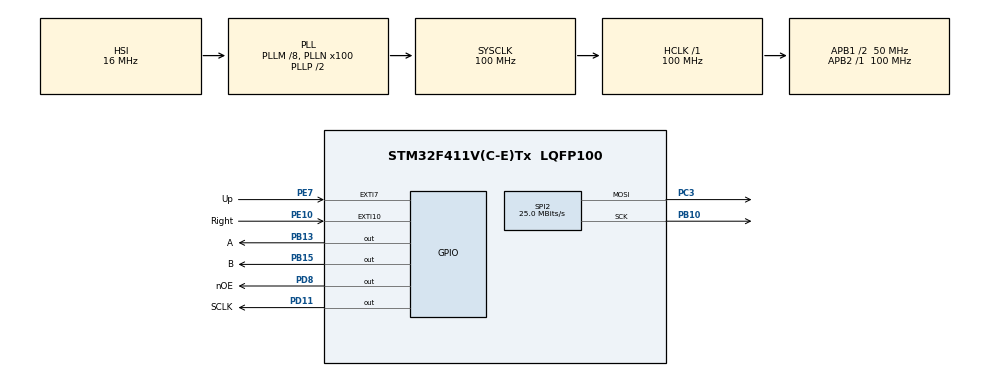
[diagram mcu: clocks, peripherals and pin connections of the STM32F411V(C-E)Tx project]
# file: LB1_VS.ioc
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Mcu.Family=STM32F4
Mcu.Name=STM32F411V(C-E)Tx
Mcu.Package=LQFP100
NVIC.EXTI15_10_IRQn=true\:0\:0\:false\:false\:true\:true\:true\:true
NVIC.EXTI9_5_IRQn=true\:0\:0\:false\:false\:true\:true\:true\:true
NVIC.PriorityGroup=NVIC_PRIORITYGROUP_4
NVIC.TIM2_IRQn=true\:0\:0\:false\:false\:true\:true\:true\:true
PA13.Mode=Serial_Wire
PA13.Signal=SYS_JTMS-SWDIO
PA14.Mode=Serial_Wire
PA14.Signal=SYS_JTCK-SWCLK
PB10.Mode=TX_Only_Simplex_Unidirect_Master
PB10.Signal=SPI2_SCK
PB13.GPIO_Label=A
PB13.Signal=GPIO_Output
PB15.GPIO_Label=B
PB15.Signal=GPIO_Output
PC3.Mode=TX_Only_Simplex_Unidirect_Master
PC3.Signal=SPI2_MOSI
PD11.GPIO_Label=SCLK
PD11.Signal=GPIO_Output
PD8.GPIO_Label=nOE
PD8.Signal=GPIO_Output
PE10.GPIO_Label=Right
PE10.Signal=GPXTI10
PE7.GPIO_Label=Up
PE7.GPIO_PuPd=GPIO_PULLDOWN
PE7.Signal=GPXTI7
PH0\ -\ OSC_IN.Mode=HSE-External-Oscillator
PH0\ -\ OSC_IN.Signal=RCC_OSC_IN
PH1\ -\ OSC_OUT.Mode=HSE-External-Oscillator
PH1\ -\ OSC_OUT.Signal=RCC_OSC_OUT
ProjectManager.HeapSize=0x200
ProjectManager.StackSize=0x400
ProjectManager.TargetToolchain=STM32CubeIDE
RCC.48MHZClocksFreq_Value=50000000
RCC.AHBFreq_Value=100000000
RCC.APB1CLKDivider=RCC_HCLK_DIV2
RCC.APB1Freq_Value=50000000
RCC.APB1TimFreq_Value=100000000
RCC.APB2Freq_Value=100000000
RCC.APB2TimFreq_Value=100000000
RCC.CortexFreq_Value=100000000
RCC.HCLKFreq_Value=100000000
RCC.HSE_VALUE=25000000
RCC.HSI_VALUE=16000000
RCC.LSE_VALUE=32768
RCC.PLLM=8
RCC.PLLN=100
RCC.SYSCLKFreq_VALUE=100000000
RCC.SYSCLKSource=RCC_SYSCLKSOURCE_PLLCLK
RCC.VCOOutputFreq_Value=200000000
SPI2.CalculateBaudRate=25.0 MBits/s
SPI2.Direction=SPI_DIRECTION_2LINES
SPI2.Mode=SPI_MODE_MASTER
SPI2.VirtualType=VM_MASTER
TIM2.Channel-Output\ Compare1\ No\ Output=TIM_CHANNEL_1
TIM2.Period=1000-1
TIM2.Prescaler=25000-1
VP_TIM2_VS_ClockSourceINT.Mode=Internal
VP_TIM2_VS_no_output1.Mode=Output Compare1 No Output
board=custom

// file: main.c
/* USER CODE BEGIN Header */
/**
  ******************************************************************************
  * @file           : main.c
  * @brief          : Main program body
  ******************************************************************************
  * @attention
  *
  * Copyright (c) 2023 STMicroelectronics.
  * All rights reserved.
  *
  * This software is licensed under terms that can be found in the LICENSE file
  * in the root directory of this software component.
  * If no LICENSE file comes with this software, it is provided AS-IS.
  *
  ******************************************************************************
  */
/* USER CODE END Header */
#include "main.h"
#include "spi.h"
#include "tim.h"
#include "gpio.h"

/* USER CODE BEGIN Includes */
#include "P10.h"
/* USER CODE END Includes */

/* USER CODE BEGIN PV */
extern Pixel P[15], R[110];
extern uint8_t pData[16];
Pixel E[28];
uint8_t x_shift = 9;
uint8_t y_shift = 9;
uint8_t x_person_left = 0;
uint8_t x_person_right = 0;
extern uint8_t i_left, i_right, i_rem_right, i_rem_left, s;
void FillPixelX(int start, int end, int Y)
{
	for (int m = start + 1; m < end; m++)
	{
		R[m].x = R[m - 1].x + 1;
		R[m].y = Y;
	}
}
void FillPixelY(int start, int end, int X, int direction)
{
	int a = 0;
	if (direction == 0)
	{
		a = -1;
	}
	else
	{
		a = 1;
	}
	for (int m = start + 1; m < end; m++)
	{
		R[m].y = R[m - 1].y + a;
		R[m].x = X;
	}
}
/* USER CODE END PV */

void SystemClock_Config(void);

int main(void)
{

  /* MCU Configuration--------------------------------------------------------*/

  /* Reset of all peripherals, Initializes the Flash interface and the Systick. */
  HAL_Init();

  /* Configure the system clock */
  SystemClock_Config();

  /* Initialize all configured peripherals */
  MX_GPIO_Init();
  MX_SPI2_Init();
  MX_TIM2_Init();
  /* USER CODE BEGIN 2 */
  HAL_SPI_Init (&hspi2);
  HAL_TIM_Base_Start_IT(&htim2);
  /* USER CODE END 2 */

  /* Infinite loop */
  /* USER CODE BEGIN WHILE */
  //A person
	P[0].x = 1;
	P[0].y = 1;
	P[1].x = 1;
	P[1].y = 2;
	P[2].x = 2;
	P[2].y = 3;
	P[3].x = 3;
	P[3].y = 2;
	P[4].x = 3;
	P[4].y = 1;
	P[5].x = 2;
	P[5].y = 4;
	P[6].x = 2;
	P[6].y = 5;
	P[7].x = 1;
	P[7].y = 5;
	P[8].x = 0;
	P[8].y = 5;
	P[9].x = 3;
	P[9].y = 5;
	P[10].x = 4;
	P[10].y = 5;
	P[11].x = 2;
	P[11].y = 6;
	P[12].x = 1;
	P[12].y = 7;
	P[13].x = 2;
	P[13].y = 8;
	P[14].x = 3;
	P[14].y = 7;
	//Начальное смещение человека
	for (int i = 0; i < 15; i++)
	{
		P[i].x += x_shift;
		P[i].y += y_shift;
	}
	//A road
	R[0].x = 0;
	R[0].y = 0;
	FillPixelX(0, 5, 0);
	R[5].x = 5;
	R[5].y = 0;
	FillPixelY(5, 7, 5, 1);
	R[7].x = 5;
	R[7].y = 2;
	FillPixelX(7, 12, 2);
	R[12].x = 10;
	R[12].y = 2;
	R[13].x = 10;
	R[13].y = 1;
	FillPixelX(13, 20, 1);
	R[20].x = 17;
	R[20].y = 1;
	FillPixelY(20, 22, 17, 1);
	R[22].x = 17;
	R[22].y = 3;
	FillPixelX(22, 29, 3);
	R[29].x = 24;
	R[29].y = 3;
	FillPixelY(29, 31, 24, 1);
	R[31].x = 24;
	R[31].y = 5;
	FillPixelX(31, 35, 5);
	R[35].x = 28;
	R[35].y = 5;
	FillPixelY(35, 40, 28, 0);
	R[40].x = 28;
	R[40].y = 0;
	FillPixelX(40, 46, 0);
	R[46].x = 34;
	R[46].y = 0;
	R[47].x = 34;
	R[47].y = 1;
	FillPixelX(47, 52, 1);
	R[52].x = 39;
	R[52].y = 1;
	R[53].x = 39;
	R[53].y = 0;
	FillPixelX(53, 60, 0);
	R[60].x = 46;
	R[60].y = 0;
	FillPixelY(60, 63, 46, 1);
	R[63].x = 46;
	R[63].y = 3;
	FillPixelX(63, 66, 3);
	R[66].x = 49;
	R[66].y = 3;
	R[67].x = 49;
	R[67].y = 2;
	R[68].x = 49;
	R[68].y = 1;
	FillPixelX(68, 72, 1);
	R[72].x = 53;
	R[72].y = 1;
	R[73].x = 53;
	R[73].y = 0;
	FillPixelX(73, 80, 0);
	R[80].x = 60;
	R[80].y = 0;
	R[81].x = 60;
	R[81].y = 1;
	R[82].x = 60;
	R[82].y = 2;
	FillPixelX(82, 88, 2);
	R[88].x = 66;
	R[88].y = 2;
	R[89].x = 66;
	R[89].y = 3;
	R[90].x = 66;
	R[90].y = 4;
	FillPixelX(90, 96, 4);
	R[96].x = 72;
	R[96].y = 4;
	R[97].x = 72;
	R[97].y = 3;
	R[98].x = 72;
	R[98].y = 2;
	FillPixelX(98, 103, 2);
	R[103].x = 77;
	R[103].y = 2;
	R[104].x = 77;
	R[104].y = 1;
	R[105].x = 77;
	R[105].y = 0;
	FillPixelX(105, 109, 0);
	R[109].x = 81;
	R[109].y = 0;
	x_person_left = P[0].x;
	x_person_right = P[4].x;
	for (int i = 0; i < 110; i++)
	{
		if (R[i].x == x_person_left)
		{
			i_left = i;
			break;
		}
	}
	for (int i = 0; i < 110; i++)
	{
		if (R[i].x == x_person_right)
		{
			i_right = i;
			break;
		}
	}
	i_rem_left = i_left;
	i_rem_right = i_right;
	//End
	//E
	E[0].x = 12;
	E[0].y = 4;
	E[1].x = 11;
	E[1].y = 4;
	E[2].x = 10;
	E[2].y = 4;
	E[3].x = 10;
	E[3].y = 5;
	E[4].x = 10;
	E[4].y = 6;
	E[5].x = 10;
	E[5].y = 7;
	E[6].x = 10;
	E[6].y = 8;
	E[7].x = 11;
	E[7].y = 8;
	E[8].x = 12;
	E[8].y = 8;
	E[9].x = 11;
	E[9].y = 6;
	E[10].x = 12;
	E[10].y = 6;
	//n
	E[11].x = 14;
	E[11].y = 4;
	E[12].x = 14;
	E[12].y = 5;
	E[13].x = 14;
	E[13].y = 6;
	E[14].x = 15;
	E[14].y = 6;
	E[15].x = 16;
	E[15].y = 6;
	E[16].x = 16;
	E[16].y = 5;
	E[17].x = 16;
	E[17].y = 4;
	//d
	E[18].x = 20;
	E[18].y = 8;
	E[19].x = 20;
	E[19].y = 7;
	E[20].x = 20;
	E[20].y = 6;
	E[21].x = 20;
	E[21].y = 5;
	E[22].x = 20;
	E[22].y = 4;
	E[23].x = 19;
	E[23].y = 4;
	E[24].x = 18;
	E[24].y = 4;
	E[25].x = 18;
	E[25].y = 5;
	E[26].x = 18;
	E[26].y = 6;
	E[27].x = 19;
	E[27].y = 6;

  while (1)
  {
	  if (s == 1)
	  {
	      clearScreen((uint8_t*) pData);
	      drawPixels(E, 28, (uint8_t*) pData, P10AB_11);
		  HAL_GPIO_WritePin(nOE_GPIO_Port, nOE_Pin, GPIO_PIN_RESET);
		  HAL_GPIO_WritePin(SCLK_GPIO_Port, SCLK_Pin, GPIO_PIN_RESET);
		  HAL_GPIO_WritePin(A_GPIO_Port, A_Pin, GPIO_PIN_SET);
		  HAL_GPIO_WritePin(B_GPIO_Port, B_Pin, GPIO_PIN_SET);
		  HAL_SPI_Transmit(&hspi2, (uint8_t*) pData, 16, 10);
		  HAL_GPIO_WritePin(SCLK_GPIO_Port, SCLK_Pin, GPIO_PIN_SET);
		  HAL_GPIO_WritePin(nOE_GPIO_Port, nOE_Pin, GPIO_PIN_SET);
		  HAL_Delay(0.5);

		  clearScreen((uint8_t*) pData);
	      drawPixels(E, 28, (uint8_t*) pData, P10AB_10);
		  HAL_GPIO_WritePin(nOE_GPIO_Port, nOE_Pin, GPIO_PIN_RESET);
		  HAL_GPIO_WritePin(SCLK_GPIO_Port, SCLK_Pin, GPIO_PIN_RESET);
		  HAL_GPIO_WritePin(A_GPIO_Port, A_Pin, GPIO_PIN_RESET);
		  HAL_GPIO_WritePin(B_GPIO_Port, B_Pin, GPIO_PIN_SET);
		  HAL_SPI_Transmit(&hspi2, (uint8_t*) pData, 16, 10);
		  HAL_GPIO_WritePin(SCLK_GPIO_Port, SCLK_Pin, GPIO_PIN_SET);
		  HAL_GPIO_WritePin(nOE_GPIO_Port, nOE_Pin, GPIO_PIN_SET);
		  HAL_Delay(0.5);

		  clearScreen((uint8_t*) pData);
	      drawPixels(E, 28, (uint8_t*) pData, P10AB_01);
		  HAL_GPIO_WritePin(nOE_GPIO_Port, nOE_Pin, GPIO_PIN_RESET);
		  HAL_GPIO_WritePin(SCLK_GPIO_Port, SCLK_Pin, GPIO_PIN_RESET);
		  HAL_GPIO_WritePin(A_GPIO_Port, A_Pin, GPIO_PIN_SET);
		  HAL_GPIO_WritePin(B_GPIO_Port, B_Pin, GPIO_PIN_RESET);
		  HAL_SPI_Transmit(&hspi2, (uint8_t*) pData, 16, 10);
		  HAL_GPIO_WritePin(SCLK_GPIO_Port, SCLK_Pin, GPIO_PIN_SET);
		  HAL_GPIO_WritePin(nOE_GPIO_Port, nOE_Pin, GPIO_PIN_SET);
		  HAL_Delay(0.5);

		  clearScreen((uint8_t*) pData);
	      drawPixels(E, 28, (uint8_t*) pData, P10AB_00);
		  HAL_GPIO_WritePin(nOE_GPIO_Port, nOE_Pin, GPIO_PIN_RESET);
		  HAL_GPIO_WritePin(SCLK_GPIO_Port, SCLK_Pin, GPIO_PIN_RESET);
		  HAL_GPIO_WritePin(A_GPIO_Port, A_Pin, GPIO_PIN_RESET);
		  HAL_GPIO_WritePin(B_GPIO_Port, B_Pin, GPIO_PIN_RESET);
		  HAL_SPI_Transmit(&hspi2, (uint8_t*) pData, 16, 10);
		  HAL_GPIO_WritePin(SCLK_GPIO_Port, SCLK_Pin, GPIO_PIN_SET);
		  HAL_GPIO_WritePin(nOE_GPIO_Port, nOE_Pin, GPIO_PIN_SET);
		  HAL_Delay(0.5);
	  }
	  else
	  {
	      clearScreen((uint8_t*) pData);
	      drawPixels(P, 15, (uint8_t*) pData, P10AB_11);
		  drawPixels(R, 110, (uint8_t*) pData, P10AB_11);
		  HAL_GPIO_WritePin(nOE_GPIO_Port, nOE_Pin, GPIO_PIN_RESET);
		  HAL_GPIO_WritePin(SCLK_GPIO_Port, SCLK_Pin, GPIO_PIN_RESET);
		  HAL_GPIO_WritePin(A_GPIO_Port, A_Pin, GPIO_PIN_SET);
		  HAL_GPIO_WritePin(B_GPIO_Port, B_Pin, GPIO_PIN_SET);
		  HAL_SPI_Transmit(&hspi2, (uint8_t*) pData, 16, 10);
		  HAL_GPIO_WritePin(SCLK_GPIO_Port, SCLK_Pin, GPIO_PIN_SET);
		  HAL_GPIO_WritePin(nOE_GPIO_Port, nOE_Pin, GPIO_PIN_SET);
		  HAL_Delay(0.5);

		  clearScreen((uint8_t*) pData);
	      drawPixels(P, 15, (uint8_t*) pData, P10AB_10);
		  drawPixels(R, 110, (uint8_t*) pData, P10AB_10);
		  HAL_GPIO_WritePin(nOE_GPIO_Port, nOE_Pin, GPIO_PIN_RESET);
		  HAL_GPIO_WritePin(SCLK_GPIO_Port, SCLK_Pin, GPIO_PIN_RESET);
		  HAL_GPIO_WritePin(A_GPIO_Port, A_Pin, GPIO_PIN_RESET);
		  HAL_GPIO_WritePin(B_GPIO_Port, B_Pin, GPIO_PIN_SET);
		  HAL_SPI_Transmit(&hspi2, (uint8_t*) pData, 16, 10);
		  HAL_GPIO_WritePin(SCLK_GPIO_Port, SCLK_Pin, GPIO_PIN_SET);
		  HAL_GPIO_WritePin(nOE_GPIO_Port, nOE_Pin, GPIO_PIN_SET);
		  HAL_Delay(0.5);

		  clearScreen((uint8_t*) pData);
	      drawPixels(P, 15, (uint8_t*) pData, P10AB_01);
		  drawPixels(R, 110, (uint8_t*) pData, P10AB_01);
		  HAL_GPIO_WritePin(nOE_GPIO_Port, nOE_Pin, GPIO_PIN_RESET);
		  HAL_GPIO_WritePin(SCLK_GPIO_Port, SCLK_Pin, GPIO_PIN_RESET);
		  HAL_GPIO_WritePin(A_GPIO_Port, A_Pin, GPIO_PIN_SET);
		  HAL_GPIO_WritePin(B_GPIO_Port, B_Pin, GPIO_PIN_RESET);
		  HAL_SPI_Transmit(&hspi2, (uint8_t*) pData, 16, 10);
		  HAL_GPIO_WritePin(SCLK_GPIO_Port, SCLK_Pin, GPIO_PIN_SET);
		  HAL_GPIO_WritePin(nOE_GPIO_Port, nOE_Pin, GPIO_PIN_SET);
		  HAL_Delay(0.5);

		  clearScreen((uint8_t*) pData);
	      drawPixels(P, 15, (uint8_t*) pData, P10AB_00);
		  drawPixels(R, 110, (uint8_t*) pData, P10AB_00);
		  HAL_GPIO_WritePin(nOE_GPIO_Port, nOE_Pin, GPIO_PIN_RESET);
		  HAL_GPIO_WritePin(SCLK_GPIO_Port, SCLK_Pin, GPIO_PIN_RESET);
		  HAL_GPIO_WritePin(A_GPIO_Port, A_Pin, GPIO_PIN_RESET);
		  HAL_GPIO_WritePin(B_GPIO_Port, B_Pin, GPIO_PIN_RESET);
		  HAL_SPI_Transmit(&hspi2, (uint8_t*) pData, 16, 10);
		  HAL_GPIO_WritePin(SCLK_GPIO_Port, SCLK_Pin, GPIO_PIN_SET);
		  HAL_GPIO_WritePin(nOE_GPIO_Port, nOE_Pin, GPIO_PIN_SET);
		  HAL_Delay(0.5);
	  }

	// Чтобы загрузить файлы, их надо положить в папки и нажать рефреш (правой кнопкой мыши по названию проекта (внутри Project Explore)

    /* USER CODE END WHILE */

  }
}

void SystemClock_Config(void)
{
  RCC_OscInitTypeDef RCC_OscInitStruct = {0};
  RCC_ClkInitTypeDef RCC_ClkInitStruct = {0};

  /** Configure the main internal regulator output voltage
  */
  __HAL_RCC_PWR_CLK_ENABLE();
  __HAL_PWR_VOLTAGESCALING_CONFIG(PWR_REGULATOR_VOLTAGE_SCALE1);

  /** Initializes the RCC Oscillators according to the specified parameters
  * in the RCC_OscInitTypeDef structure.
  */
  RCC_OscInitStruct.OscillatorType = RCC_OSCILLATORTYPE_HSI;
  RCC_OscInitStruct.HSIState = RCC_HSI_ON;
  RCC_OscInitStruct.HSICalibrationValue = RCC_HSICALIBRATION_DEFAULT;
  RCC_OscInitStruct.PLL.PLLState = RCC_PLL_ON;
  RCC_OscInitStruct.PLL.PLLSource = RCC_PLLSOURCE_HSI;
  RCC_OscInitStruct.PLL.PLLM = 8;
  RCC_OscInitStruct.PLL.PLLN = 100;
  RCC_OscInitStruct.PLL.PLLP = RCC_PLLP_DIV2;
  RCC_OscInitStruct.PLL.PLLQ = 4;
  if (HAL_RCC_OscConfig(&RCC_OscInitStruct) != HAL_OK)
  {
    Error_Handler();
  }

  /** Initializes the CPU, AHB and APB buses clocks
  */
  RCC_ClkInitStruct.ClockType = RCC_CLOCKTYPE_HCLK|RCC_CLOCKTYPE_SYSCLK
                              |RCC_CLOCKTYPE_PCLK1|RCC_CLOCKTYPE_PCLK2;
  RCC_ClkInitStruct.SYSCLKSource = RCC_SYSCLKSOURCE_PLLCLK;
  RCC_ClkInitStruct.AHBCLKDivider = RCC_SYSCLK_DIV1;
  RCC_ClkInitStruct.APB1CLKDivider = RCC_HCLK_DIV2;
  RCC_ClkInitStruct.APB2CLKDivider = RCC_HCLK_DIV1;

  if (HAL_RCC_ClockConfig(&RCC_ClkInitStruct, FLASH_LATENCY_3) != HAL_OK)
  {
    Error_Handler();
  }
}

void Error_Handler(void)
{
  __disable_irq();
  while (1)
  {
  }
}
